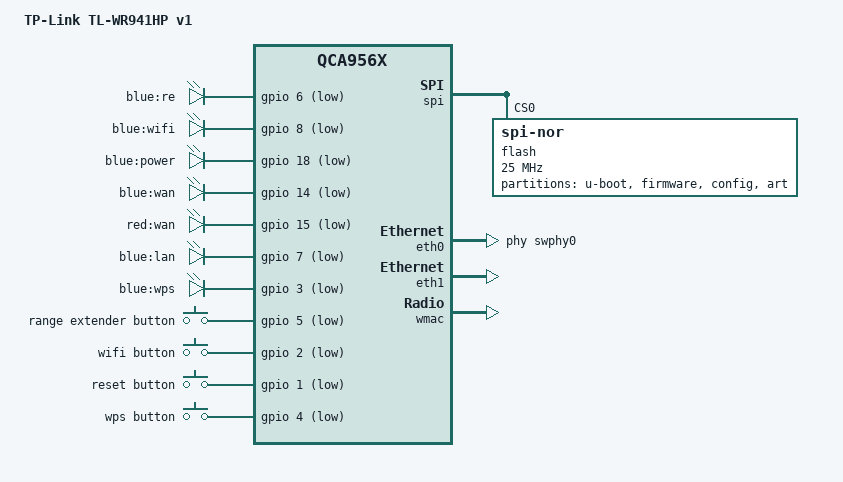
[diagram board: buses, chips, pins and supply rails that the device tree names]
// SPDX-License-Identifier: GPL-2.0-or-later OR MIT

#include "qca956x.dtsi"

#include <dt-bindings/gpio/gpio.h>
#include <dt-bindings/input/input.h>

/ {
	compatible = "tplink,tl-wr941hp-v1", "qca,tp9343";
	model = "TP-Link TL-WR941HP v1";

	aliases {
		label-mac-device = &wmac;
		led-boot = &led_power;
		led-failsafe = &led_power;
		led-running = &led_power;
		led-upgrade = &led_power;
	};

	leds {
		compatible = "gpio-leds";

		re {
			label = "blue:re";
			gpios = <&gpio 6 GPIO_ACTIVE_LOW>;
		};

		wifi {
			label = "blue:wifi";
			gpios = <&gpio 8 GPIO_ACTIVE_LOW>;
			linux,default-trigger = "phy0tpt";
		};

		led_power: power {
			label = "blue:power";
			gpios = <&gpio 18 GPIO_ACTIVE_LOW>;
			default-state = "on";
		};

		wan_blue {
			label = "blue:wan";
			gpios = <&gpio 14 GPIO_ACTIVE_LOW>;
		};

		wan_red {
			label = "red:wan";
			gpios = <&gpio 15 GPIO_ACTIVE_LOW>;
		};

		lan {
			label = "blue:lan";
			gpios = <&gpio 7 GPIO_ACTIVE_LOW>;
		};

		wps {
			label = "blue:wps";
			gpios = <&gpio 3 GPIO_ACTIVE_LOW>;
		};
	};

	keys {
		compatible = "gpio-keys";

		re {
			label = "range extender button";
			linux,code = <BTN_0>;
			gpios = <&gpio 5 GPIO_ACTIVE_LOW>;
			debounce-interval = <60>;
		};

		wifi {
			label = "wifi button";
			linux,code = <KEY_RFKILL>;
			gpios = <&gpio 2 GPIO_ACTIVE_LOW>;
			debounce-interval = <60>;
		};

		reset {
			label = "reset button";
			linux,code = <KEY_RESTART>;
			gpios = <&gpio 1 GPIO_ACTIVE_LOW>;
			debounce-interval = <60>;
		};

		wps {
			label = "wps button";
			linux,code = <KEY_WPS_BUTTON>;
			gpios = <&gpio 4 GPIO_ACTIVE_LOW>;
			debounce-interval = <60>;
		};
	};
};

&spi {
	status = "okay";

	flash@0 {
		compatible = "jedec,spi-nor";
		reg = <0>;
		spi-max-frequency = <25000000>;

		partitions {
			compatible = "fixed-partitions";
			#address-cells = <1>;
			#size-cells = <1>;

			uboot: partition@0 {
				label = "u-boot";
				reg = <0x0 0x020000>;
				read-only;
			};

			partition@20000 {
				compatible = "tplink,firmware";
				label = "firmware";
				reg = <0x020000 0x730000>;
			};

			config: partition@750000 {
				label = "config";
				reg = <0x750000 0x0a0000>;
				read-only;
			};

			art: partition@7f0000 {
				label = "art";
				reg = <0x7f0000 0x010000>;
				read-only;
			};
		};
	};
};

&eth0 {
	status = "okay";

	phy-handle = <&swphy0>;

	mtd-mac-address = <&config 0x8>;
	mtd-mac-address-increment = <1>;
};

&eth1 {
	status = "okay";

	mtd-mac-address = <&config 0x8>;
};

&wmac {
	status = "okay";

	mtd-cal-data = <&art 0x1000>;
	mtd-mac-address = <&config 0x8>;
};
